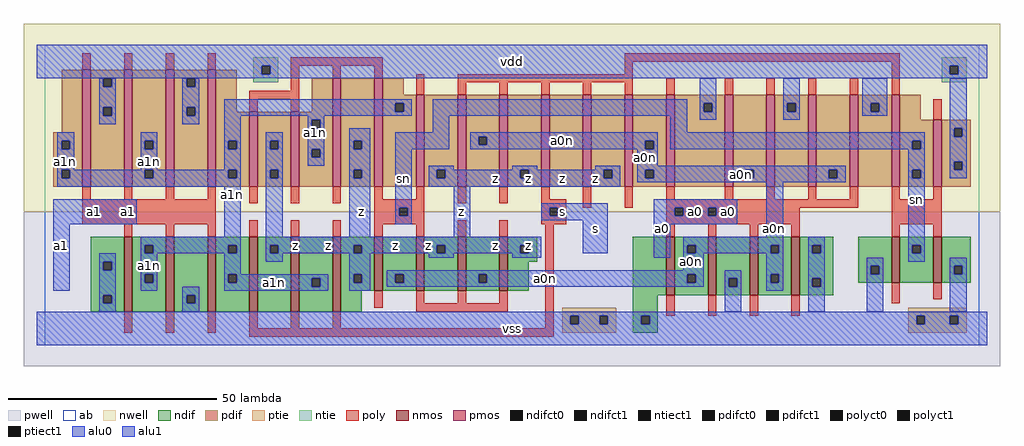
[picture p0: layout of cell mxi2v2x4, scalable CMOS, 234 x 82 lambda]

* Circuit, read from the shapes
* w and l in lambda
.subckt mxi2v2x4 a0 a0n a1 a1n s sn vdd vss z
M1 a1n a1 vss vss nfet w=18 l=2 m=3
M2 z s a1n vss nfet w=18 l=2 m=3
M3 a0n sn z vss nfet w=13 l=2 m=4
M4 a0n a0 vss vss nfet w=14 l=2 m=4
M5 sn s vss vss nfet w=11 l=2 m=2
M6 vdd a1 a1n vdd pfet w=28 l=2 m=4
M7 z sn a1n vdd pfet w=18 l=2 m=2
M8 z sn a1n vdd pfet w=26 l=2 m=2
M9 z sn a1n vdd pfet w=22 l=2
M10 a0n s z vdd pfet w=22 l=2 m=5
M11 vdd a0 a0n vdd pfet w=22 l=2 m=5
M12 sn s vdd vdd pfet w=22 l=2
M13 vdd s sn vdd pfet w=16 l=2
.ends

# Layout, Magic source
magic
tech scmos
<< ab >>
rect 0 0 224 72
<< nwell >>
rect -5 32 229 77
<< pwell >>
rect -5 -5 229 32
<< poly >>
rect 9 66 11 70
rect 19 66 21 70
rect 29 66 31 70
rect 39 66 41 70
rect 59 67 81 69
rect 59 61 61 67
rect 69 64 71 67
rect 79 64 81 67
rect 139 68 205 70
rect 139 65 141 68
rect 49 59 61 61
rect 49 56 51 59
rect 59 56 61 59
rect 89 60 91 65
rect 99 63 141 65
rect 99 60 101 63
rect 109 60 111 63
rect 119 60 121 63
rect 129 60 131 63
rect 139 60 141 63
rect 149 60 151 64
rect 163 60 165 64
rect 173 60 175 64
rect 183 60 185 64
rect 193 60 195 64
rect 203 60 205 68
rect 213 54 215 59
rect 9 35 11 38
rect 19 35 21 38
rect 29 35 31 38
rect 39 35 41 38
rect 9 33 41 35
rect 49 34 51 38
rect 59 34 61 38
rect 69 34 71 38
rect 79 35 81 38
rect 89 35 91 38
rect 9 31 11 33
rect 13 31 19 33
rect 21 31 41 33
rect 9 29 41 31
rect 79 33 91 35
rect 99 34 101 38
rect 109 34 111 38
rect 119 35 121 38
rect 79 31 85 33
rect 87 31 91 33
rect 19 26 21 29
rect 29 26 31 29
rect 39 26 41 29
rect 49 26 51 30
rect 59 26 61 30
rect 69 26 71 30
rect 79 29 91 31
rect 119 33 125 35
rect 129 33 131 38
rect 139 33 141 38
rect 149 35 151 38
rect 163 35 165 38
rect 173 35 175 38
rect 183 35 185 38
rect 193 35 195 38
rect 149 33 195 35
rect 203 35 205 38
rect 213 35 215 38
rect 119 31 121 33
rect 123 31 125 33
rect 79 26 81 29
rect 89 26 91 29
rect 99 26 101 30
rect 109 26 111 30
rect 119 29 125 31
rect 149 31 151 33
rect 153 31 159 33
rect 161 31 181 33
rect 149 29 181 31
rect 79 9 81 13
rect 89 10 91 13
rect 99 10 101 13
rect 109 10 111 13
rect 89 8 111 10
rect 19 3 21 8
rect 29 3 31 8
rect 39 3 41 8
rect 49 4 51 8
rect 59 4 61 8
rect 69 4 71 8
rect 120 4 122 29
rect 149 26 151 29
rect 159 26 161 29
rect 169 26 171 29
rect 179 26 181 29
rect 203 29 215 35
rect 203 26 205 29
rect 213 26 215 29
rect 49 2 122 4
rect 149 7 151 12
rect 159 7 161 12
rect 169 7 171 12
rect 179 7 181 12
rect 203 10 205 15
rect 213 11 215 15
<< ndif >>
rect 11 20 19 26
rect 11 18 14 20
rect 16 18 19 20
rect 11 12 19 18
rect 11 10 14 12
rect 16 10 19 12
rect 11 8 19 10
rect 21 24 29 26
rect 21 22 24 24
rect 26 22 29 24
rect 21 17 29 22
rect 21 15 24 17
rect 26 15 29 17
rect 21 8 29 15
rect 31 12 39 26
rect 31 10 34 12
rect 36 10 39 12
rect 31 8 39 10
rect 41 24 49 26
rect 41 22 44 24
rect 46 22 49 24
rect 41 17 49 22
rect 41 15 44 17
rect 46 15 49 17
rect 41 8 49 15
rect 51 24 59 26
rect 51 22 54 24
rect 56 22 59 24
rect 51 8 59 22
rect 61 16 69 26
rect 61 14 64 16
rect 66 14 69 16
rect 61 8 69 14
rect 71 24 79 26
rect 71 22 74 24
rect 76 22 79 24
rect 71 17 79 22
rect 71 15 74 17
rect 76 15 79 17
rect 71 13 79 15
rect 81 17 89 26
rect 81 15 84 17
rect 86 15 89 17
rect 81 13 89 15
rect 91 24 99 26
rect 91 22 94 24
rect 96 22 99 24
rect 91 13 99 22
rect 101 17 109 26
rect 101 15 104 17
rect 106 15 109 17
rect 101 13 109 15
rect 111 24 118 26
rect 111 22 114 24
rect 116 22 118 24
rect 111 20 118 22
rect 111 13 116 20
rect 71 8 76 13
rect 141 12 149 26
rect 151 24 159 26
rect 151 22 154 24
rect 156 22 159 24
rect 151 17 159 22
rect 151 15 154 17
rect 156 15 159 17
rect 151 12 159 15
rect 161 16 169 26
rect 161 14 164 16
rect 166 14 169 16
rect 161 12 169 14
rect 171 24 179 26
rect 171 22 174 24
rect 176 22 179 24
rect 171 17 179 22
rect 171 15 174 17
rect 176 15 179 17
rect 171 12 179 15
rect 181 24 189 26
rect 181 22 184 24
rect 186 22 189 24
rect 181 16 189 22
rect 181 14 184 16
rect 186 14 189 16
rect 195 19 203 26
rect 195 17 198 19
rect 200 17 203 19
rect 195 15 203 17
rect 205 24 213 26
rect 205 22 208 24
rect 210 22 213 24
rect 205 15 213 22
rect 215 19 222 26
rect 215 17 218 19
rect 220 17 222 19
rect 215 15 222 17
rect 181 12 189 14
rect 141 7 147 12
rect 141 5 143 7
rect 145 5 147 7
rect 141 3 147 5
<< pdif >>
rect 4 51 9 66
rect 2 49 9 51
rect 2 47 4 49
rect 6 47 9 49
rect 2 42 9 47
rect 2 40 4 42
rect 6 40 9 42
rect 2 38 9 40
rect 11 64 19 66
rect 11 62 14 64
rect 16 62 19 64
rect 11 57 19 62
rect 11 55 14 57
rect 16 55 19 57
rect 11 38 19 55
rect 21 49 29 66
rect 21 47 24 49
rect 26 47 29 49
rect 21 42 29 47
rect 21 40 24 42
rect 26 40 29 42
rect 21 38 29 40
rect 31 64 39 66
rect 31 62 34 64
rect 36 62 39 64
rect 31 57 39 62
rect 31 55 34 57
rect 36 55 39 57
rect 31 38 39 55
rect 41 56 46 66
rect 64 56 69 64
rect 41 49 49 56
rect 41 47 44 49
rect 46 47 49 49
rect 41 42 49 47
rect 41 40 44 42
rect 46 40 49 42
rect 41 38 49 40
rect 51 49 59 56
rect 51 47 54 49
rect 56 47 59 49
rect 51 42 59 47
rect 51 40 54 42
rect 56 40 59 42
rect 51 38 59 40
rect 61 54 69 56
rect 61 52 64 54
rect 66 52 69 54
rect 61 47 69 52
rect 61 45 64 47
rect 66 45 69 47
rect 61 38 69 45
rect 71 49 79 64
rect 71 47 74 49
rect 76 47 79 49
rect 71 42 79 47
rect 71 40 74 42
rect 76 40 79 42
rect 71 38 79 40
rect 81 60 86 64
rect 81 58 89 60
rect 81 56 84 58
rect 86 56 89 58
rect 81 38 89 56
rect 91 42 99 60
rect 91 40 94 42
rect 96 40 99 42
rect 91 38 99 40
rect 101 50 109 60
rect 101 48 104 50
rect 106 48 109 50
rect 101 38 109 48
rect 111 42 119 60
rect 111 40 114 42
rect 116 40 119 42
rect 111 38 119 40
rect 121 50 129 60
rect 121 48 124 50
rect 126 48 129 50
rect 121 38 129 48
rect 131 42 139 60
rect 131 40 134 42
rect 136 40 139 42
rect 131 38 139 40
rect 141 49 149 60
rect 141 47 144 49
rect 146 47 149 49
rect 141 42 149 47
rect 141 40 144 42
rect 146 40 149 42
rect 141 38 149 40
rect 151 58 163 60
rect 151 56 158 58
rect 160 56 163 58
rect 151 38 163 56
rect 165 42 173 60
rect 165 40 168 42
rect 170 40 173 42
rect 165 38 173 40
rect 175 58 183 60
rect 175 56 178 58
rect 180 56 183 58
rect 175 38 183 56
rect 185 42 193 60
rect 185 40 188 42
rect 190 40 193 42
rect 185 38 193 40
rect 195 58 203 60
rect 195 56 198 58
rect 200 56 203 58
rect 195 38 203 56
rect 205 54 210 60
rect 205 49 213 54
rect 205 47 208 49
rect 210 47 213 49
rect 205 42 213 47
rect 205 40 208 42
rect 210 40 213 42
rect 205 38 213 40
rect 215 52 222 54
rect 215 50 218 52
rect 220 50 222 52
rect 215 44 222 50
rect 215 42 218 44
rect 220 42 222 44
rect 215 38 222 42
<< alu1 >>
rect -2 67 226 72
rect -2 65 52 67
rect 54 65 217 67
rect 219 65 226 67
rect -2 64 226 65
rect 2 33 22 35
rect 2 31 11 33
rect 13 31 19 33
rect 21 31 22 33
rect 2 29 22 31
rect 2 13 6 29
rect 53 49 57 51
rect 53 47 54 49
rect 56 47 57 49
rect 53 42 57 47
rect 73 49 78 52
rect 73 47 74 49
rect 76 47 78 49
rect 53 40 54 42
rect 56 40 57 42
rect 53 26 57 40
rect 73 42 78 47
rect 73 40 74 42
rect 76 40 78 42
rect 73 26 78 40
rect 92 42 98 43
rect 112 42 118 43
rect 132 42 138 43
rect 92 40 94 42
rect 96 40 114 42
rect 116 40 134 42
rect 136 40 138 42
rect 92 38 138 40
rect 98 26 102 38
rect 119 33 135 34
rect 119 31 121 33
rect 123 31 135 33
rect 119 30 135 31
rect 53 24 119 26
rect 53 22 54 24
rect 56 22 74 24
rect 76 22 94 24
rect 96 22 114 24
rect 116 22 119 24
rect 129 22 135 30
rect 146 33 166 35
rect 146 31 151 33
rect 153 31 159 33
rect 161 31 166 33
rect 146 29 166 31
rect 53 20 57 22
rect 73 17 78 22
rect 92 21 98 22
rect 112 21 119 22
rect 146 21 150 29
rect 73 15 74 17
rect 76 15 78 17
rect 73 13 78 15
rect -2 7 226 8
rect -2 5 126 7
rect 128 5 133 7
rect 135 5 143 7
rect 145 5 209 7
rect 211 5 217 7
rect 219 5 226 7
rect -2 0 226 5
<< ptie >>
rect 124 7 137 9
rect 124 5 126 7
rect 128 5 133 7
rect 135 5 137 7
rect 124 3 137 5
rect 207 7 221 9
rect 207 5 209 7
rect 211 5 217 7
rect 219 5 221 7
rect 207 3 221 5
<< ntie >>
rect 50 67 56 69
rect 50 65 52 67
rect 54 65 56 67
rect 50 63 56 65
rect 215 67 221 69
rect 215 65 217 67
rect 219 65 221 67
rect 215 63 221 65
<< nmos >>
rect 19 8 21 26
rect 29 8 31 26
rect 39 8 41 26
rect 49 8 51 26
rect 59 8 61 26
rect 69 8 71 26
rect 79 13 81 26
rect 89 13 91 26
rect 99 13 101 26
rect 109 13 111 26
rect 149 12 151 26
rect 159 12 161 26
rect 169 12 171 26
rect 179 12 181 26
rect 203 15 205 26
rect 213 15 215 26
<< pmos >>
rect 9 38 11 66
rect 19 38 21 66
rect 29 38 31 66
rect 39 38 41 66
rect 49 38 51 56
rect 59 38 61 56
rect 69 38 71 64
rect 79 38 81 64
rect 89 38 91 60
rect 99 38 101 60
rect 109 38 111 60
rect 119 38 121 60
rect 129 38 131 60
rect 139 38 141 60
rect 149 38 151 60
rect 163 38 165 60
rect 173 38 175 60
rect 183 38 185 60
rect 193 38 195 60
rect 203 38 205 60
rect 213 38 215 54
<< polyct0 >>
rect 85 31 87 33
<< polyct1 >>
rect 11 31 13 33
rect 19 31 21 33
rect 121 31 123 33
rect 151 31 153 33
rect 159 31 161 33
<< ndifct0 >>
rect 14 18 16 20
rect 14 10 16 12
rect 24 22 26 24
rect 24 15 26 17
rect 34 10 36 12
rect 44 22 46 24
rect 44 15 46 17
rect 64 14 66 16
rect 84 15 86 17
rect 104 15 106 17
rect 154 22 156 24
rect 154 15 156 17
rect 164 14 166 16
rect 174 22 176 24
rect 174 15 176 17
rect 184 22 186 24
rect 184 14 186 16
rect 198 17 200 19
rect 208 22 210 24
rect 218 17 220 19
<< ndifct1 >>
rect 54 22 56 24
rect 74 22 76 24
rect 74 15 76 17
rect 94 22 96 24
rect 114 22 116 24
rect 143 5 145 7
<< ntiect1 >>
rect 52 65 54 67
rect 217 65 219 67
<< ptiect1 >>
rect 126 5 128 7
rect 133 5 135 7
rect 209 5 211 7
rect 217 5 219 7
<< pdifct0 >>
rect 4 47 6 49
rect 4 40 6 42
rect 14 62 16 64
rect 14 55 16 57
rect 24 47 26 49
rect 24 40 26 42
rect 34 62 36 64
rect 34 55 36 57
rect 44 47 46 49
rect 44 40 46 42
rect 64 52 66 54
rect 64 45 66 47
rect 84 56 86 58
rect 104 48 106 50
rect 124 48 126 50
rect 144 47 146 49
rect 144 40 146 42
rect 158 56 160 58
rect 168 40 170 42
rect 178 56 180 58
rect 188 40 190 42
rect 198 56 200 58
rect 208 47 210 49
rect 208 40 210 42
rect 218 50 220 52
rect 218 42 220 44
<< pdifct1 >>
rect 54 47 56 49
rect 54 40 56 42
rect 74 47 76 49
rect 74 40 76 42
rect 94 40 96 42
rect 114 40 116 42
rect 134 40 136 42
<< alu0 >>
rect 13 62 14 64
rect 16 62 17 64
rect 13 57 17 62
rect 13 55 14 57
rect 16 55 17 57
rect 13 53 17 55
rect 33 62 34 64
rect 36 62 37 64
rect 33 57 37 62
rect 33 55 34 57
rect 36 55 37 57
rect 33 53 37 55
rect 43 58 88 59
rect 43 56 84 58
rect 86 56 88 58
rect 43 55 88 56
rect 93 55 154 59
rect 3 49 7 51
rect 3 47 4 49
rect 6 47 7 49
rect 3 42 7 47
rect 23 49 27 51
rect 23 47 24 49
rect 26 47 27 49
rect 23 42 27 47
rect 43 49 47 55
rect 63 54 67 55
rect 63 52 64 54
rect 66 52 67 54
rect 43 47 44 49
rect 46 47 47 49
rect 43 42 47 47
rect 3 40 4 42
rect 6 40 24 42
rect 26 40 44 42
rect 46 40 47 42
rect 3 38 47 40
rect 43 26 47 38
rect 23 24 47 26
rect 23 22 24 24
rect 26 22 44 24
rect 46 22 47 24
rect 13 20 17 22
rect 13 18 14 20
rect 16 18 17 20
rect 13 12 17 18
rect 23 17 27 22
rect 23 15 24 17
rect 26 15 27 17
rect 23 13 27 15
rect 43 17 47 22
rect 63 47 67 52
rect 63 45 64 47
rect 66 45 67 47
rect 63 43 67 45
rect 93 51 97 55
rect 150 51 154 55
rect 157 58 161 64
rect 157 56 158 58
rect 160 56 161 58
rect 157 54 161 56
rect 177 58 181 64
rect 177 56 178 58
rect 180 56 181 58
rect 177 54 181 56
rect 196 58 202 64
rect 196 56 198 58
rect 200 56 202 58
rect 196 55 202 56
rect 217 52 221 64
rect 84 47 97 51
rect 102 50 147 51
rect 102 48 104 50
rect 106 48 124 50
rect 126 49 147 50
rect 126 48 144 49
rect 102 47 144 48
rect 146 47 147 49
rect 150 49 211 51
rect 150 47 208 49
rect 210 47 211 49
rect 84 33 88 47
rect 142 43 147 47
rect 142 42 192 43
rect 142 40 144 42
rect 146 40 168 42
rect 170 40 188 42
rect 190 40 192 42
rect 142 39 192 40
rect 207 42 211 47
rect 207 40 208 42
rect 210 40 211 42
rect 217 50 218 52
rect 220 50 221 52
rect 217 44 221 50
rect 217 42 218 44
rect 220 42 221 44
rect 217 40 221 42
rect 84 31 85 33
rect 87 31 88 33
rect 84 29 88 31
rect 173 26 177 39
rect 153 24 177 26
rect 153 22 154 24
rect 156 22 174 24
rect 176 22 177 24
rect 153 18 158 22
rect 43 15 44 17
rect 46 16 68 17
rect 46 15 64 16
rect 43 14 64 15
rect 66 14 68 16
rect 13 10 14 12
rect 16 10 17 12
rect 13 8 17 10
rect 33 12 37 14
rect 43 13 68 14
rect 82 17 158 18
rect 82 15 84 17
rect 86 15 104 17
rect 106 15 154 17
rect 156 15 158 17
rect 82 14 158 15
rect 163 16 167 18
rect 163 14 164 16
rect 166 14 167 16
rect 33 10 34 12
rect 36 10 37 12
rect 33 8 37 10
rect 163 8 167 14
rect 173 17 177 22
rect 173 15 174 17
rect 176 15 177 17
rect 173 13 177 15
rect 183 24 187 26
rect 183 22 184 24
rect 186 22 187 24
rect 183 16 187 22
rect 207 24 211 40
rect 207 22 208 24
rect 210 22 211 24
rect 183 14 184 16
rect 186 14 187 16
rect 183 8 187 14
rect 197 19 201 21
rect 207 20 211 22
rect 197 17 198 19
rect 200 17 201 19
rect 197 8 201 17
rect 217 19 221 21
rect 217 17 218 19
rect 220 17 221 19
rect 217 8 221 17
<< labels >>
rlabel alu0 25 19 25 19 6 a1n
rlabel alu0 5 44 5 44 6 a1n
rlabel alu0 25 44 25 44 6 a1n
rlabel alu0 45 36 45 36 6 a1n
rlabel alu0 55 15 55 15 6 a1n
rlabel alu0 86 40 86 40 6 sn
rlabel alu0 65 51 65 51 6 a1n
rlabel alu0 120 16 120 16 6 a0n
rlabel alu0 155 20 155 20 6 a0n
rlabel alu0 124 49 124 49 6 a0n
rlabel alu0 144 45 144 45 6 a0n
rlabel alu0 175 28 175 28 6 a0n
rlabel alu0 209 35 209 35 6 sn
rlabel alu0 167 41 167 41 6 a0n
rlabel alu1 4 24 4 24 6 a1
rlabel polyct1 20 32 20 32 6 a1
rlabel polyct1 12 32 12 32 6 a1
rlabel alu1 100 32 100 32 6 z
rlabel alu1 108 24 108 24 6 z
rlabel alu1 92 24 92 24 6 z
rlabel alu1 76 32 76 32 6 z
rlabel alu1 60 24 60 24 6 z
rlabel alu1 68 24 68 24 6 z
rlabel alu1 84 24 84 24 6 z
rlabel alu1 108 40 108 40 6 z
rlabel alu1 112 4 112 4 6 vss
rlabel alu1 116 24 116 24 6 z
rlabel alu1 148 28 148 28 6 a0
rlabel alu1 156 32 156 32 6 a0
rlabel alu1 164 32 164 32 6 a0
rlabel alu1 132 28 132 28 6 s
rlabel alu1 124 32 124 32 6 s
rlabel alu1 132 40 132 40 6 z
rlabel alu1 124 40 124 40 6 z
rlabel alu1 116 40 116 40 6 z
rlabel alu1 112 68 112 68 6 vdd
<< end >>
